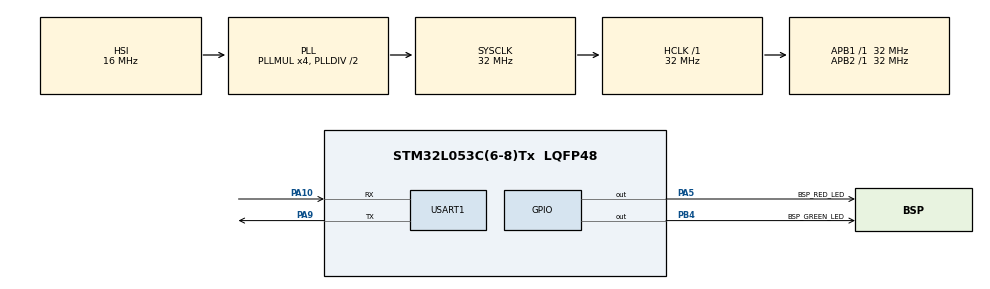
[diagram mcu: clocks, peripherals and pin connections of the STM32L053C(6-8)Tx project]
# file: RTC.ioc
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Mcu.Family=STM32L0
Mcu.Name=STM32L053C(6-8)Tx
Mcu.Package=LQFP48
NVIC.RTC_IRQn=true\:0\:0\:false\:false\:true\:true\:true\:true
PA10.Mode=Asynchronous
PA10.Signal=USART1_RX
PA13.Mode=Serial_Wire
PA13.Signal=SYS_SWDIO
PA14.Mode=Serial_Wire
PA14.Signal=SYS_SWCLK
PA5.GPIO_Label=BSP_RED_LED
PA5.Signal=GPIO_Output
PA9.Mode=Asynchronous
PA9.Signal=USART1_TX
PB4.GPIO_Label=BSP_GREEN_LED
PB4.Signal=GPIO_Output
PC14-OSC32_IN.Mode=LSE-External-Oscillator
PC14-OSC32_IN.Signal=RCC_OSC32_IN
PC15-OSC32_OUT.Mode=LSE-External-Oscillator
PC15-OSC32_OUT.Signal=RCC_OSC32_OUT
PH0-OSC_IN.Mode=HSE-External-Oscillator
PH0-OSC_IN.Signal=RCC_OSC_IN
PH1-OSC_OUT.Mode=HSE-External-Oscillator
PH1-OSC_OUT.Signal=RCC_OSC_OUT
ProjectManager.HeapSize=0x200
ProjectManager.StackSize=0x400
ProjectManager.TargetToolchain=STM32CubeIDE
RCC.AHBFreq_Value=32000000
RCC.APB1Freq_Value=32000000
RCC.APB1TimFreq_Value=32000000
RCC.APB2Freq_Value=32000000
RCC.APB2TimFreq_Value=32000000
RCC.HCLKFreq_Value=32000000
RCC.HSE_VALUE=8000000
RCC.HSI16_VALUE=16000000
RCC.HSI48MClockSelection=RCC_USBCLKSOURCE_HSI48
RCC.HSI48_VALUE=48000000
RCC.HSI_VALUE=16000000
RCC.MSI_VALUE=2097000
RCC.PLLMUL=RCC_PLLMUL_4
RCC.RTCClockSelection=RCC_RTCCLKSOURCE_LSI
RCC.RTCClockSelectionVirtual=RCC_RTCCLKSOURCE_LSE
RCC.SYSCLKFreq_VALUE=32000000
RCC.SYSCLKSource=RCC_SYSCLKSOURCE_PLLCLK
RCC.VCOOutputFreq_Value=64000000
RTC.Alarm-Alarm\ A=RTC_ALARM_A
RTC.AlarmDateWeekDay-Alarm\ A=10
RTC.AlarmMaskMinutes-Alarm\ A=RTC_ALARMMASK_MINUTES
RTC.Date=10
RTC.Format=RTC_FORMAT_BCD
RTC.HourFormat=RTC_HOURFORMAT_24
RTC.Hours=14
RTC.Hours_A-Alarm\ A=14
RTC.Minutes=16
RTC.Minutes_A-Alarm\ A=16
RTC.Month=RTC_MONTH_JUNE
RTC.Seconds=1
RTC.Seconds_A-Alarm\ A=10
RTC.WeekDay=RTC_WEEKDAY_SATURDAY
RTC.Year=23
USART1.VirtualMode-Asynchronous=VM_ASYNC
USART1.WordLength=WORDLENGTH_8B
VP_RTC_VS_RTC_Activate.Mode=RTC_Enabled
VP_RTC_VS_RTC_Alarm_A_Intern.Mode=Alarm A
VP_RTC_VS_RTC_Calendar.Mode=RTC_Calendar
board=STM32L0538-DISCO

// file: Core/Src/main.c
/* USER CODE BEGIN Header */
/**
 ******************************************************************************
 * @file           : main.c
 * @brief          : Main program body
 ******************************************************************************
 * @attention
 *
 * Copyright (c) 2023 STMicroelectronics.
 * All rights reserved.
 *
 * This software is licensed under terms that can be found in the LICENSE file
 * in the root directory of this software component.
 * If no LICENSE file comes with this software, it is provided AS-IS.
 *
 ******************************************************************************
 */
/* USER CODE END Header */
#include "main.h"

/* USER CODE BEGIN Includes */
#include "stdio.h"
#include "stdlib.h"
RTC_TimeTypeDef sTime;
RTC_DateTypeDef sDate;
/* USER CODE END Includes */

RTC_HandleTypeDef hrtc;

UART_HandleTypeDef huart1;

/* USER CODE BEGIN PV */
uint8_t date[30];
uint8_t time[30];
/* USER CODE END PV */

void SystemClock_Config(void);
static void MX_GPIO_Init(void);
static void MX_USART1_UART_Init(void);
static void MX_RTC_Init(void);

int main(void)
{

  /* MCU Configuration--------------------------------------------------------*/

  /* Reset of all peripherals, Initializes the Flash interface and the Systick. */
  HAL_Init();

  /* Configure the system clock */
  SystemClock_Config();

  /* Initialize all configured peripherals */
  MX_GPIO_Init();
  MX_USART1_UART_Init();
  MX_RTC_Init();
  /* USER CODE BEGIN 2 */
  HAL_RTC_GetTime(&hrtc, &sTime, RTC_FORMAT_BIN);
  		HAL_RTC_GetDate(&hrtc, &sDate, RTC_FORMAT_BIN);
  /* USER CODE END 2 */

  /* Infinite loop */
	while (1) {

    /* USER CODE BEGIN 3 */

		  HAL_RTC_GetTime(&hrtc, &sTime, RTC_FORMAT_BIN);
			  HAL_RTC_GetDate(&hrtc, &sDate, RTC_FORMAT_BIN);

			  sprintf(time,"Time: %02d.%02d.%02d\r\n",sTime.Hours,sTime.Minutes,sTime.Seconds);
			  sprintf(date,"Date: %02d.%02d.%02d\t",sDate.Date,sDate.Month,sDate.Year);

			  HAL_UART_Transmit(&huart1, (uint8_t *)date, sizeof(date), 300);
			  HAL_UART_Transmit(&huart1, (uint8_t *)time, sizeof(time), 300);
			  HAL_Delay(1000);
	}
  /* USER CODE END 3 */
}

void SystemClock_Config(void)
{
  RCC_OscInitTypeDef RCC_OscInitStruct = {0};
  RCC_ClkInitTypeDef RCC_ClkInitStruct = {0};
  RCC_PeriphCLKInitTypeDef PeriphClkInit = {0};

  /** Configure the main internal regulator output voltage
  */
  __HAL_PWR_VOLTAGESCALING_CONFIG(PWR_REGULATOR_VOLTAGE_SCALE1);

  /** Initializes the RCC Oscillators according to the specified parameters
  * in the RCC_OscInitTypeDef structure.
  */
  RCC_OscInitStruct.OscillatorType = RCC_OSCILLATORTYPE_HSI|RCC_OSCILLATORTYPE_LSI;
  RCC_OscInitStruct.HSIState = RCC_HSI_ON;
  RCC_OscInitStruct.HSICalibrationValue = RCC_HSICALIBRATION_DEFAULT;
  RCC_OscInitStruct.LSIState = RCC_LSI_ON;
  RCC_OscInitStruct.PLL.PLLState = RCC_PLL_ON;
  RCC_OscInitStruct.PLL.PLLSource = RCC_PLLSOURCE_HSI;
  RCC_OscInitStruct.PLL.PLLMUL = RCC_PLLMUL_4;
  RCC_OscInitStruct.PLL.PLLDIV = RCC_PLLDIV_2;
  if (HAL_RCC_OscConfig(&RCC_OscInitStruct) != HAL_OK)
  {
    Error_Handler();
  }

  /** Initializes the CPU, AHB and APB buses clocks
  */
  RCC_ClkInitStruct.ClockType = RCC_CLOCKTYPE_HCLK|RCC_CLOCKTYPE_SYSCLK
                              |RCC_CLOCKTYPE_PCLK1|RCC_CLOCKTYPE_PCLK2;
  RCC_ClkInitStruct.SYSCLKSource = RCC_SYSCLKSOURCE_PLLCLK;
  RCC_ClkInitStruct.AHBCLKDivider = RCC_SYSCLK_DIV1;
  RCC_ClkInitStruct.APB1CLKDivider = RCC_HCLK_DIV1;
  RCC_ClkInitStruct.APB2CLKDivider = RCC_HCLK_DIV1;

  if (HAL_RCC_ClockConfig(&RCC_ClkInitStruct, FLASH_LATENCY_1) != HAL_OK)
  {
    Error_Handler();
  }
  PeriphClkInit.PeriphClockSelection = RCC_PERIPHCLK_USART1|RCC_PERIPHCLK_RTC;
  PeriphClkInit.Usart1ClockSelection = RCC_USART1CLKSOURCE_PCLK2;
  PeriphClkInit.RTCClockSelection = RCC_RTCCLKSOURCE_LSI;
  if (HAL_RCCEx_PeriphCLKConfig(&PeriphClkInit) != HAL_OK)
  {
    Error_Handler();
  }
}

static void MX_RTC_Init(void)
{

  RTC_TimeTypeDef sTime = {0};
  RTC_DateTypeDef sDate = {0};
  RTC_AlarmTypeDef sAlarm = {0};

  /** Initialize RTC Only
  */
  hrtc.Instance = RTC;
  hrtc.Init.HourFormat = RTC_HOURFORMAT_24;
  hrtc.Init.AsynchPrediv = 127;
  hrtc.Init.SynchPrediv = 255;
  hrtc.Init.OutPut = RTC_OUTPUT_DISABLE;
  hrtc.Init.OutPutRemap = RTC_OUTPUT_REMAP_NONE;
  hrtc.Init.OutPutPolarity = RTC_OUTPUT_POLARITY_HIGH;
  hrtc.Init.OutPutType = RTC_OUTPUT_TYPE_OPENDRAIN;
  if (HAL_RTC_Init(&hrtc) != HAL_OK)
  {
    Error_Handler();
  }

  /** Initialize RTC and set the Time and Date
  */
  sTime.Hours = 0x14;
  sTime.Minutes = 0x16;
  sTime.Seconds = 0x1;
  sTime.DayLightSaving = RTC_DAYLIGHTSAVING_NONE;
  sTime.StoreOperation = RTC_STOREOPERATION_RESET;
  if (HAL_RTC_SetTime(&hrtc, &sTime, RTC_FORMAT_BCD) != HAL_OK)
  {
    Error_Handler();
  }
  sDate.WeekDay = RTC_WEEKDAY_SATURDAY;
  sDate.Month = RTC_MONTH_JUNE;
  sDate.Date = 0x10;
  sDate.Year = 0x23;

  if (HAL_RTC_SetDate(&hrtc, &sDate, RTC_FORMAT_BCD) != HAL_OK)
  {
    Error_Handler();
  }

  /** Enable the Alarm A
  */
  sAlarm.AlarmTime.Hours = 0x14;
  sAlarm.AlarmTime.Minutes = 0x16;
  sAlarm.AlarmTime.Seconds = 0x10;
  sAlarm.AlarmTime.SubSeconds = 0x0;
  sAlarm.AlarmTime.DayLightSaving = RTC_DAYLIGHTSAVING_NONE;
  sAlarm.AlarmTime.StoreOperation = RTC_STOREOPERATION_RESET;
  sAlarm.AlarmMask = RTC_ALARMMASK_MINUTES;
  sAlarm.AlarmSubSecondMask = RTC_ALARMSUBSECONDMASK_ALL;
  sAlarm.AlarmDateWeekDaySel = RTC_ALARMDATEWEEKDAYSEL_DATE;
  sAlarm.AlarmDateWeekDay = 0x10;
  sAlarm.Alarm = RTC_ALARM_A;
  if (HAL_RTC_SetAlarm_IT(&hrtc, &sAlarm, RTC_FORMAT_BCD) != HAL_OK)
  {
    Error_Handler();
  }

}

static void MX_USART1_UART_Init(void)
{

  huart1.Instance = USART1;
  huart1.Init.BaudRate = 115200;
  huart1.Init.WordLength = UART_WORDLENGTH_8B;
  huart1.Init.StopBits = UART_STOPBITS_1;
  huart1.Init.Parity = UART_PARITY_NONE;
  huart1.Init.Mode = UART_MODE_TX_RX;
  huart1.Init.HwFlowCtl = UART_HWCONTROL_NONE;
  huart1.Init.OverSampling = UART_OVERSAMPLING_16;
  huart1.Init.OneBitSampling = UART_ONE_BIT_SAMPLE_DISABLE;
  huart1.AdvancedInit.AdvFeatureInit = UART_ADVFEATURE_NO_INIT;
  if (HAL_UART_Init(&huart1) != HAL_OK)
  {
    Error_Handler();
  }

}

static void MX_GPIO_Init(void)
{
  GPIO_InitTypeDef GPIO_InitStruct = {0};

  /* GPIO Ports Clock Enable */
  __HAL_RCC_GPIOC_CLK_ENABLE();
  __HAL_RCC_GPIOH_CLK_ENABLE();
  __HAL_RCC_GPIOA_CLK_ENABLE();
  __HAL_RCC_GPIOB_CLK_ENABLE();

  /*Configure GPIO pin Output Level */
  HAL_GPIO_WritePin(BSP_RED_LED_GPIO_Port, BSP_RED_LED_Pin, GPIO_PIN_RESET);

  /*Configure GPIO pin Output Level */
  HAL_GPIO_WritePin(BSP_GREEN_LED_GPIO_Port, BSP_GREEN_LED_Pin, GPIO_PIN_RESET);

  /*Configure GPIO pin : BSP_RED_LED_Pin */
  GPIO_InitStruct.Pin = BSP_RED_LED_Pin;
  GPIO_InitStruct.Mode = GPIO_MODE_OUTPUT_PP;
  GPIO_InitStruct.Pull = GPIO_NOPULL;
  GPIO_InitStruct.Speed = GPIO_SPEED_FREQ_LOW;
  HAL_GPIO_Init(BSP_RED_LED_GPIO_Port, &GPIO_InitStruct);

  /*Configure GPIO pin : BSP_GREEN_LED_Pin */
  GPIO_InitStruct.Pin = BSP_GREEN_LED_Pin;
  GPIO_InitStruct.Mode = GPIO_MODE_OUTPUT_PP;
  GPIO_InitStruct.Pull = GPIO_NOPULL;
  GPIO_InitStruct.Speed = GPIO_SPEED_FREQ_LOW;
  HAL_GPIO_Init(BSP_GREEN_LED_GPIO_Port, &GPIO_InitStruct);

}

/* USER CODE BEGIN 4 */
void HAL_RTC_AlarmAEventCallback(RTC_HandleTypeDef *hrtc) {
//	HAL_GPIO_TogglePin(BSP_GREEN_LED_GPIO_Port, BSP_GREEN_LED_Pin);
	HAL_GPIO_WritePin(BSP_RED_LED_GPIO_Port, BSP_RED_LED_Pin, GPIO_PIN_SET);
	printf("hello world!\r\n");
}

/* USER CODE END 4 */

void Error_Handler(void)
{
	__disable_irq();
	while (1) {
	}
}
